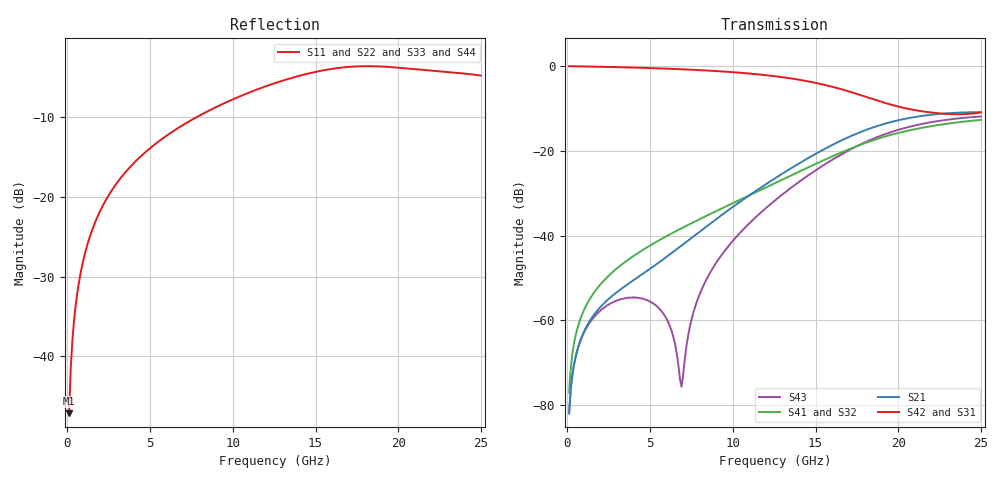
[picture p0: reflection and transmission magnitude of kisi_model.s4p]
! kisi E_s8_L1L3_p1000_oval_g2: fast channel model (formula impedances, via model), up to 25 GHz
# Hz S RI R 50
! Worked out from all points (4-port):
!   250 points, 100 MHz to 25 GHz, reference 50 ohm
!   strongest paths, dB at 100 MHz, 6.3 GHz, 12.6 GHz, 18.8 GHz, 25 GHz:
!     S42: 0.0, -0.7, -2.4, -8.2, -10.9
!     S31: 0.0, -0.7, -2.4, -8.2, -10.9
!     S21: -81.9, -44.1, -26.3, -14.1, -10.9
!     S41: -77.0, -39.5, -27.5, -17.1, -12.7
!     S32: -77.0, -39.5, -27.5, -17.1, -12.7
!     S43: -81.9, -62.5, -31.5, -16.6, -11.9
!   lowest |S11| = -47.1 dB at 100 MHz (marker M1), VSWR 1.01, Z = 50.1 - j0.426 ohm
!   |S11| at or under -10 dB: start of sweep to 7.818 GHz
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1e8  0.00115 -0.00425  4.9e-06 8e-05  0.9972 -0.0376  -1.09e-05 -0.000141
     4.9e-06 8e-05  0.00115 -0.00425  -1.09e-05 -0.000141  0.9972 -0.0376
     0.9972 -0.0376  -1.09e-05 -0.000141  0.00114 -0.00424  7.12e-06 7.98e-05
     -1.09e-05 -0.000141  0.9972 -0.0376  7.12e-06 7.98e-05  0.00114 -0.00424
3.5e9  -0.1356 -0.0436  0.00137 0.00216  0.2919 -0.9214  -0.00471 -0.00139
       0.00137 0.00216  -0.1356 -0.0436  -0.00471 -0.00139  0.2919 -0.9214
       0.2919 -0.9214  -0.00471 -0.00139  -0.1384 -0.0361  0.00182 9.08e-05
       -0.00471 -0.00139  0.2919 -0.9214  0.00182 9.08e-05  -0.1384 -0.0361
6.9e9  -0.1796 0.2128  0.00639 0.00421  -0.7251 -0.5622  -0.00618 0.0105
       0.00639 0.00421  -0.1796 0.2128  -0.00618 0.0105  -0.7251 -0.5622
       -0.7251 -0.5622  -0.00618 0.0105  -0.149 0.2369  0.000162 3.06e-05
       -0.00618 0.0105  -0.7251 -0.5622  0.000162 3.06e-05  -0.149 0.2369
8.2e9  -0.0831 0.3216  0.0114 0.00363  -0.8758 -0.1692  0.00037 0.0164
       0.0114 0.00363  -0.0831 0.3216  0.00037 0.0164  -0.8758 -0.1692
       -0.8758 -0.1692  0.00037 0.0164  -0.0246 0.3325  0.00134 0.00214
       0.00037 0.0164  -0.8758 -0.1692  0.00134 0.00214  -0.0246 0.3325
1.25e10  0.49 0.155  0.0226 -0.041  -0.1448 0.7473  0.0365 -0.0191
         0.0226 -0.041  0.49 0.155  0.0365 -0.0191  -0.1448 0.7473
         -0.1448 0.7473  0.0365 -0.0191  0.5142 -0.00717  0.0142 -0.0212
         0.0365 -0.0191  -0.1448 0.7473  0.0142 -0.0212  0.5142 -0.00717
1.76e10  -0.0448 -0.6558  -0.158 0.0402  0.4629 -0.0135  -0.1122 0.0283
         -0.158 0.0402  -0.0448 -0.6558  -0.1122 0.0283  0.4629 -0.0135
         0.4629 -0.0135  -0.1122 0.0283  -0.3541 -0.5723  -0.0926 0.07
         -0.1122 0.0283  0.4629 -0.0135  -0.0926 0.07  -0.3541 -0.5723
2.5e10  -0.1963 0.5403  0.1399 -0.2493  0.0267 -0.2825  -0.0191 -0.231
        0.1399 -0.2493  -0.1963 0.5403  -0.0191 -0.231  0.0267 -0.2825
        0.0267 -0.2825  -0.0191 -0.231  0.2244 0.5457  -0.0916 -0.2372
        -0.0191 -0.231  0.0267 -0.2825  -0.0916 -0.2372  0.2244 0.5457
